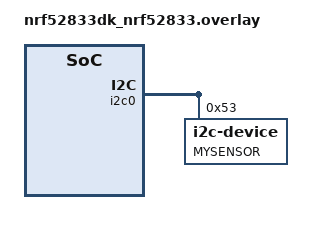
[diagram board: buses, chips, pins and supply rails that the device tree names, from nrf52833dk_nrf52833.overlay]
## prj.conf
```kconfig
#
# Copyright (c) 2016 Intel Corporation
#
# SPDX-License-Identifier: Apache-2.0
#

# STEP 2 - Enable the I2C driver
CONFIG_I2C=y

# STEP 4.2 - Enable floating point format specifiers
```

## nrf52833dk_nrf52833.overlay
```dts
&i2c0 {
    mysensor: mysensor@4a{
    compatible = "i2c-device";
    reg = < 0x53 >;
    label = "MYSENSOR";
    };
   };
```

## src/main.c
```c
#include <zephyr/kernel.h>
#include <zephyr/device.h>
#include <zephyr/devicetree.h>
#include <zephyr/drivers/i2c.h>


#define I2C0_NODE DT_NODELABEL(mysensor)

#define ADXL345_I2C_ADDR 0x53
#define ADXL345_REG_DEVID     0x00
#define ADXL345_REG_POWER_CTL 0x2D
#define ADXL345_REG_DATA_X0   0x32

static const struct i2c_dt_spec dev_i2c = I2C_DT_SPEC_GET(I2C0_NODE);

// Pins
// SDA: P0.26
// SCL: P0.27

/*
 * 📌 Hardware Connections: ADXL345 to nRF52833 DK (I2C Mode)
 *
 * ADXL345 Pin    Function       Connected to nRF52833 DK Pin
 * ----------------------------------------------------------
 * VCC            Power          VDD (3.3V)
 * GND            Ground         GND
 * SDA            I2C Data       P0.26  // or any available GPIO
 * SCL            I2C Clock      P0.27  // or any available GPIO
 * CS             Mode Select    VDD    // Tie HIGH to enable I2C mode
 * SDO            Addr Select    GND    // GND = I2C address 0x53, VDD = 0x1D
 * INT1, INT2     Interrupts     (Optional) Connect to any GPIO if used
 */


/* 1000 msec = 1 sec */
#define SLEEP_TIME_MS 1000

/* STEP 8 - Define the I2C slave device address and the addresses of relevant registers */

#define CHIP_ID 0x60
#define SENSOR_CONFIG_VALUE 0x93

/* STEP 6 - Get the node identifier of the sensor */

// I2C write to ADXL345
int adxl345_write_reg(uint8_t reg, uint8_t val)
{
    uint8_t buf[2] = {reg, val};
    return i2c_write(dev_i2c.bus, buf, 2, ADXL345_I2C_ADDR);
}

// I2C read from ADXL345
int adxl345_read_reg(uint8_t reg, uint8_t *val)
{
    return i2c_write_read(dev_i2c.bus, dev_i2c.addr, &reg, 1, val, 1);
}

// I2C read multiple
int adxl345_read_xyz(int16_t *x, int16_t *y, int16_t *z)
{
    uint8_t reg = ADXL345_REG_DATA_X0;
    uint8_t buf[6];
    int ret = i2c_write_read(dev_i2c.bus, ADXL345_I2C_ADDR, &reg, 1, buf, 6);
    if (ret != 0) return ret;

    *x = (int16_t)((buf[1] << 8) | buf[0]);
    *y = (int16_t)((buf[3] << 8) | buf[2]);
    *z = (int16_t)((buf[5] << 8) | buf[4]);
    return 0;
}

int main(void)
{
	if (!device_is_ready(dev_i2c.bus))
	{
		printk("I2C bus %s is not ready!\n\r", dev_i2c.bus->name);
		return 0;
	}

	printk("I2C bus %s ready!\n\r", dev_i2c.bus->name);

	int ret;

	printk("Read writing!\n\r");

	uint8_t devid = 0;
    if (adxl345_read_reg(ADXL345_REG_DEVID, &devid) == 0) {
        printk("Device ID: 0x%X\n\r", devid);
    } else {
        printk("Failed to read Device ID");
        
    }

	// Set measurement mode
    adxl345_write_reg(ADXL345_REG_POWER_CTL, 0x08);
	

	while (1)
	{
		int16_t x, y, z;
        if (adxl345_read_xyz(&x, &y, &z) == 0) {
            printk("X: %d, Y: %d, Z: %d \n\r", x, y, z);
        } else {
            printk("Failed to read acceleration");
        }

        k_msleep(1000);
	}
}
```
